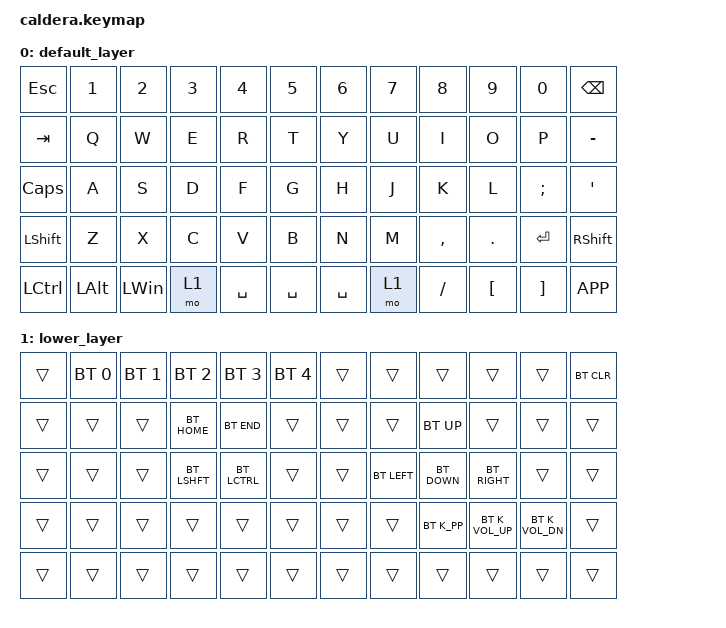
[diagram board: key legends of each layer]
#include <behaviors.dtsi>
#include <dt-bindings/zmk/keys.h>
#include <dt-bindings/zmk/bt.h>

/ {
        keymap {
                compatible = "zmk,keymap";

                default_layer {
// -----------------------------------------------------------------------------------------
// |  ESC |  1  |  2  |  3  |  4  |  5  |   |  6  |  7   |  8  |  9  |  0  | BSPC |
// |  TAB |  Q  |  W  |  E  |  R  |  T  |   |  Y  |  U   |  I  |  O  |  P  |  -   |
// | CAPS |  A  |  S  |  D  |  F  |  G  |   |  H  |  J   |  K  |  L  |  ;  |  '   |  
// |LSHFT |  Z  |  X  |  C  |  V  |  B  |   |  N  |  M   |  ,  |  .  |ENTER|RSHFT |
// | LCTRL|LATL | LWIN| LOW | SPC | SPC |   | SPC | LOW  |  /  |LBKT |RBKT |K_APP |
                        bindings = <
   &kp ESC   &kp N1   &kp N2   &kp N3  &kp N4    &kp N5    &kp N6    &kp N7  &kp N8     &kp N9   &kp N0        &kp BSPC
   &kp TAB   &kp Q    &kp W    &kp E   &kp R     &kp T     &kp Y     &kp U   &kp I      &kp O    &kp P         &kp MINUS
   &kp CAPS  &kp A    &kp S    &kp D   &kp F     &kp G     &kp H     &kp J   &kp K      &kp L    &kp SEMICOLON &kp APOS
   &kp LSHFT &kp Z    &kp X    &kp C   &kp V     &kp B     &kp N     &kp M   &kp COMMA  &kp DOT  &kp RET       &kp RSHFT
   &kp LCTRL &kp LALT &kp LWIN &mo 1   &kp SPACE &kp SPACE &kp SPACE &mo 1   &kp SLASH  &kp LBKT &kp RBKT      &kp K_APP
                        >;
                };
                lower_layer {
// -----------------------------------------------------------------------------------------
// |      |BT_SEL 0|BT_SEL 1|BT_SEL 2|BT_SEL 3|BT_SEL 4|   |     |      |     |        |        |BT_CLR|
// |      |        |        | HOME   |  END   |        |   |     |      |  UP |        |        |      |
// |      |        |        |LSHFT   |LCTRL   |        |   |     | LEFT |DOWN |RIGHT   |        |      |
// |      |        |        |        |        |        |   |     |      |K_PP |K_VOL_UP|K_VOL_DN|      |
// |      |        |        |        |        |        |   |     |      |     |        |        |      |
                        bindings = <
   &trans      &bt BT_SEL 0 &bt BT_SEL 1 &bt BT_SEL 2 &bt BT_SEL 3 &bt BT_SEL 4 &trans      &trans      &trans      &trans       &trans       &bt BT_CLR
   &trans      &trans       &trans       &bt HOME     &bt END      &trans       &trans      &trans      &bt UP      &trans       &trans       &trans
   &trans      &trans       &trans       &bt LSHFT    &bt LCTRL    &trans       &trans      &bt LEFT    &bt DOWN    &bt RIGHT    &trans       &trans
   &trans      &trans       &trans       &trans       &trans       &trans       &trans      &trans      &bt K_PP    &bt K_VOL_UP &bt K_VOL_DN &trans
   &trans      &trans       &trans       &trans       &trans       &trans       &trans      &trans      &trans      &trans       &trans       &trans
                        >;
                };
        };
};
